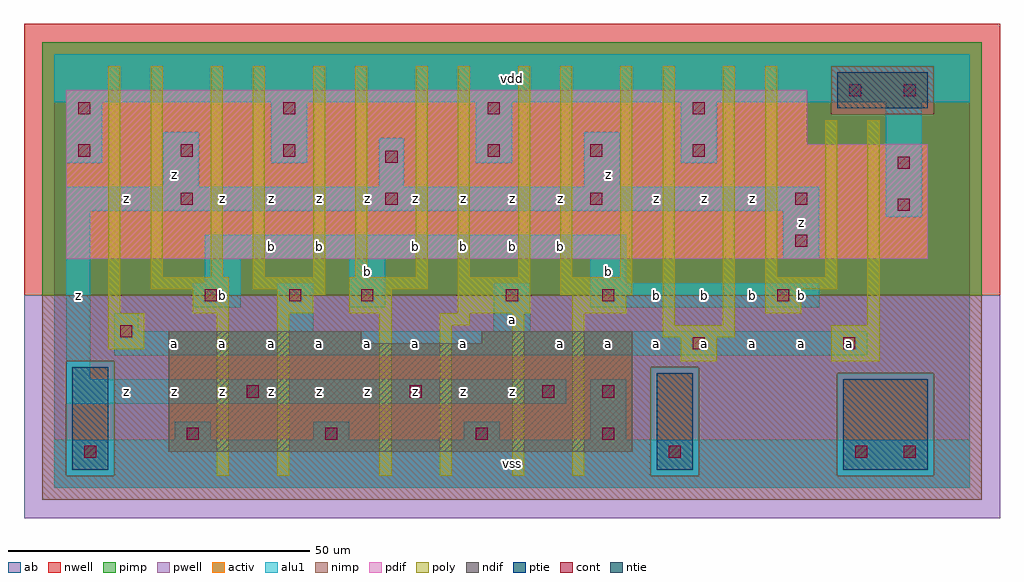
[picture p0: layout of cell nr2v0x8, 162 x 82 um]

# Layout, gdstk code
import gdstk
lib = gdstk.Library(unit=1e-6, precision=1e-09)
def R(c, l, rs):  # rectangles x0, y0, x1, y1
    for r in rs: c.add(gdstk.rectangle(r[:2], r[2:], *l))
def A(c, l, x, y, w, h, nx, ny, dx, dy):  # array of equal rectangles
    R(c, l, [(x+i*dx, y+j*dy, x+i*dx+w, y+j*dy+h) for i in range(nx) for j in range(ny)])
ndif = (3, 0)
pdif = (4, 0)
ntie = (5, 0)
ptie = (6, 0)
cont = (25, 0)
pwell = (41, 0)
nwell = (42, 0)
activ = (43, 0)
pimp = (44, 0)
nimp = (45, 0)
poly = (46, 0)
alu1 = (49, 0)
ab = (63, 0)

nr2v0x8 = lib.new_cell('nr2v0x8')
R(nr2v0x8, ndif, [(19,6,96,24), (19,24,51,26), (71,24,96,26)])
R(nr2v0x8, pdif, [(2,38,145,57), (2,57,125,66)])
R(nr2v0x8, ntie, [(130,63,145,69)])
R(nr2v0x8, ptie, [(3,3,9,20), (100,3,106,19), (131,3,145,18)])
A(nr2v0x8, cont, 21, 47, 2, 2, 4, 1, 34, 0)
A(nr2v0x8, cont, 4, 55, 2, 2, 3, 1, 17, 0)
A(nr2v0x8, cont, 72, 55, 2, 2, 3, 1, 17, 0)
A(nr2v0x8, cont, 4, 62, 2, 2, 4, 1, 34, 0)
R(nr2v0x8, cont, [(5,5,7,7), (102,5,104,7), (133,5,135,7), (141,5,143,7), (22,8,24,10), (45,8,47,10), (70,8,72,10), (91,8,93,10), (32,15,34,17), (59,15,61,17), (81,15,83,17), (91,15,93,17), (106,23,108,25), (131,23,133,25), (11,25,13,27), (25,31,27,33), (39,31,41,33), (51,31,53,33), (75,31,77,33), (91,31,93,33), (120,31,122,33), (123,40,125,42), (140,46,142,48), (140,53,142,55), (55,54,57,56), (132,65,134,67), (141,65,143,67)])
R(nr2v0x8, pwell, [(-5,-5,157,32)])
R(nr2v0x8, nwell, [(-5,32,157,77)])
R(nr2v0x8, activ, [(3,3,9,20), (100,3,106,19), (131,3,145,18), (19,6,96,24), (19,24,51,26), (71,24,96,26), (2,38,145,57), (2,57,125,66), (130,63,145,69)])
R(nr2v0x8, pimp, [(2,2,10,21), (99,2,107,20), (130,2,146,19), (-2,32,154,62), (-2,62,129,70), (146,62,154,70), (-2,70,154,74)])
R(nr2v0x8, nimp, [(-2,-2,154,2), (-2,2,2,21), (10,2,99,20), (107,2,130,19), (146,2,154,19), (107,19,154,20), (10,20,154,21), (-2,21,154,32), (129,62,146,70)])
R(nr2v0x8, poly, [(27,2,29,29), (37,2,39,29), (54,2,56,29), (64,2,66,27), (76,2,78,29), (86,2,88,29), (104,21,110,25), (129,21,137,27), (9,23,15,29), (101,25,113,27), (64,27,69,29), (101,27,103,70), (111,27,113,70), (135,27,137,61), (9,29,11,70), (23,29,29,33), (37,29,43,32), (49,29,56,33), (67,29,79,35), (86,29,95,32), (118,29,124,33), (37,32,45,33), (84,32,96,35), (16,33,29,35), (33,33,45,35), (49,33,62,35), (118,33,130,35), (16,35,18,70), (26,35,28,70), (33,35,35,70), (43,35,45,70), (50,35,52,70), (60,35,62,70), (67,35,69,70), (77,35,79,70), (84,35,86,70), (94,35,96,70), (118,35,120,70), (128,35,130,61)])
A(nr2v0x8, alu1, 2, 54, 6, 10, 4, 1, 34, 0)
R(nr2v0x8, alu1, [(0,0,152,8), (20,8,26,11), (43,8,49,11), (68,8,74,11), (89,8,95,18), (2,14,85,18), (2,18,6,46), (10,22,135,26), (10,26,14,29), (37,26,43,34), (73,26,79,34), (23,30,31,34), (49,30,55,38), (89,30,127,34), (25,34,31,38), (89,34,95,38), (25,38,95,42), (121,38,127,46), (138,45,144,64), (2,46,127,50), (18,50,24,59), (54,50,58,58), (88,50,94,59), (0,64,152,72)])
R(nr2v0x8, ab, [(0,0,152,72)])
nr2v0x8.add(gdstk.Label('z', (20,16), layer=49, texttype=0))
nr2v0x8.add(gdstk.Label('z', (12,16), layer=49, texttype=0))
nr2v0x8.add(gdstk.Label('a', (20,24), layer=49, texttype=0))
nr2v0x8.add(gdstk.Label('z', (4,32), layer=49, texttype=0))
nr2v0x8.add(gdstk.Label('z', (20,52), layer=49, texttype=0))
nr2v0x8.add(gdstk.Label('z', (12,48), layer=49, texttype=0))
nr2v0x8.add(gdstk.Label('z', (52,16), layer=49, texttype=0))
nr2v0x8.add(gdstk.Label('z', (44,16), layer=49, texttype=0))
nr2v0x8.add(gdstk.Label('z', (36,16), layer=49, texttype=0))
nr2v0x8.add(gdstk.Label('z', (28,16), layer=49, texttype=0))
nr2v0x8.add(gdstk.Label('a', (28,24), layer=49, texttype=0))
nr2v0x8.add(gdstk.Label('a', (52,24), layer=49, texttype=0))
nr2v0x8.add(gdstk.Label('a', (44,24), layer=49, texttype=0))
nr2v0x8.add(gdstk.Label('a', (36,24), layer=49, texttype=0))
nr2v0x8.add(gdstk.Label('b', (28,32), layer=49, texttype=0))
nr2v0x8.add(gdstk.Label('b', (44,40), layer=49, texttype=0))
nr2v0x8.add(gdstk.Label('b', (36,40), layer=49, texttype=0))
nr2v0x8.add(gdstk.Label('b', (52,36), layer=49, texttype=0))
nr2v0x8.add(gdstk.Label('z', (28,48), layer=49, texttype=0))
nr2v0x8.add(gdstk.Label('z', (52,48), layer=49, texttype=0))
nr2v0x8.add(gdstk.Label('z', (44,48), layer=49, texttype=0))
nr2v0x8.add(gdstk.Label('z', (36,48), layer=49, texttype=0))
nr2v0x8.add(gdstk.Label('vss', (76,4), layer=49, texttype=0))
nr2v0x8.add(gdstk.Label('z', (76,16), layer=49, texttype=0))
nr2v0x8.add(gdstk.Label('z', (68,16), layer=49, texttype=0))
nr2v0x8.add(gdstk.Label('z', (60,16), layer=49, texttype=0))
nr2v0x8.add(gdstk.Label('a', (60,24), layer=49, texttype=0))
nr2v0x8.add(gdstk.Label('a', (84,24), layer=49, texttype=0))
nr2v0x8.add(gdstk.Label('a', (68,24), layer=49, texttype=0))
nr2v0x8.add(gdstk.Label('a', (76,28), layer=49, texttype=0))
nr2v0x8.add(gdstk.Label('b', (60,40), layer=49, texttype=0))
nr2v0x8.add(gdstk.Label('b', (84,40), layer=49, texttype=0))
nr2v0x8.add(gdstk.Label('b', (76,40), layer=49, texttype=0))
nr2v0x8.add(gdstk.Label('b', (68,40), layer=49, texttype=0))
nr2v0x8.add(gdstk.Label('z', (60,48), layer=49, texttype=0))
nr2v0x8.add(gdstk.Label('z', (84,48), layer=49, texttype=0))
nr2v0x8.add(gdstk.Label('z', (76,48), layer=49, texttype=0))
nr2v0x8.add(gdstk.Label('z', (68,48), layer=49, texttype=0))
nr2v0x8.add(gdstk.Label('vdd', (76,68), layer=49, texttype=0))
nr2v0x8.add(gdstk.Label('a', (92,24), layer=49, texttype=0))
nr2v0x8.add(gdstk.Label('a', (116,24), layer=49, texttype=0))
nr2v0x8.add(gdstk.Label('a', (108,24), layer=49, texttype=0))
nr2v0x8.add(gdstk.Label('a', (100,24), layer=49, texttype=0))
nr2v0x8.add(gdstk.Label('b', (116,32), layer=49, texttype=0))
nr2v0x8.add(gdstk.Label('b', (108,32), layer=49, texttype=0))
nr2v0x8.add(gdstk.Label('b', (100,32), layer=49, texttype=0))
nr2v0x8.add(gdstk.Label('b', (92,36), layer=49, texttype=0))
nr2v0x8.add(gdstk.Label('z', (92,52), layer=49, texttype=0))
nr2v0x8.add(gdstk.Label('z', (116,48), layer=49, texttype=0))
nr2v0x8.add(gdstk.Label('z', (108,48), layer=49, texttype=0))
nr2v0x8.add(gdstk.Label('z', (100,48), layer=49, texttype=0))
nr2v0x8.add(gdstk.Label('a', (124,24), layer=49, texttype=0))
nr2v0x8.add(gdstk.Label('a', (132,24), layer=49, texttype=0))
nr2v0x8.add(gdstk.Label('b', (124,32), layer=49, texttype=0))
nr2v0x8.add(gdstk.Label('z', (124,44), layer=49, texttype=0))

lib.write_gds('nr2v0x8.gds')
